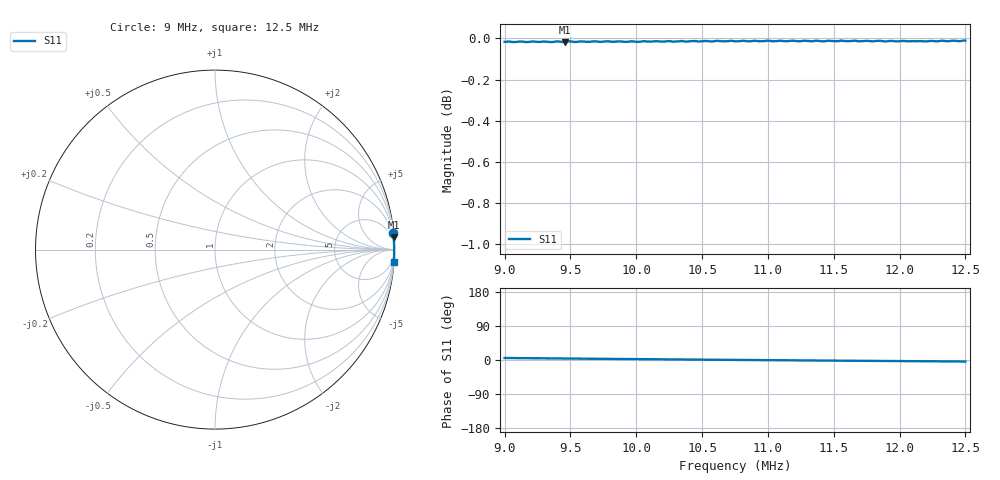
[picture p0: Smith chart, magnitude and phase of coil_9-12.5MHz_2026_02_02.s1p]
# HZ S RI R 50
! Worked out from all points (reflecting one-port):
!   401 points, 9 MHz to 12.5 MHz, reference 50 ohm
!   lowest |S11| = 0.0 dB at 9.455 MHz (marker M1), VSWR 967.39, Z = 44.3 + j1.46e+03 ohm
!   phase of S11 starts at 5 deg and turns -9 deg over the sweep
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9000000  0.9938 0.0926
9017500  0.994 0.0917
9148750  0.9946 0.0842
9306250  0.9954 0.0759
9358750  0.9953 0.073
9402500  0.9959 0.0707
9437500  0.9957 0.0688
9455000  0.9956 0.0681
9498750  0.9962 0.0657
9612500  0.9964 0.0595
9656250  0.9966 0.0577
9708750  0.9967 0.0546
9752500  0.997 0.0528
9796250  0.997 0.0502
9875000  0.9973 0.0464
1.01725e7  0.9979 0.0317
1.03125e7  0.9981 0.0252
1.053125e7  0.9985 0.0146
1.0575e7  0.9982 0.0128
1.061875e7  0.9986 0.0106
1.075e7  0.9984 0.00447
1.11875e7  0.9986 -0.0153
1.13975e7  0.9982 -0.0247
1.1625e7  0.9979 -0.0343
1.177375e7  0.9976 -0.0407
1.20625e7  0.997 -0.0528
1.23425e7  0.9965 -0.0642
1.25e7  0.9963 -0.0703
